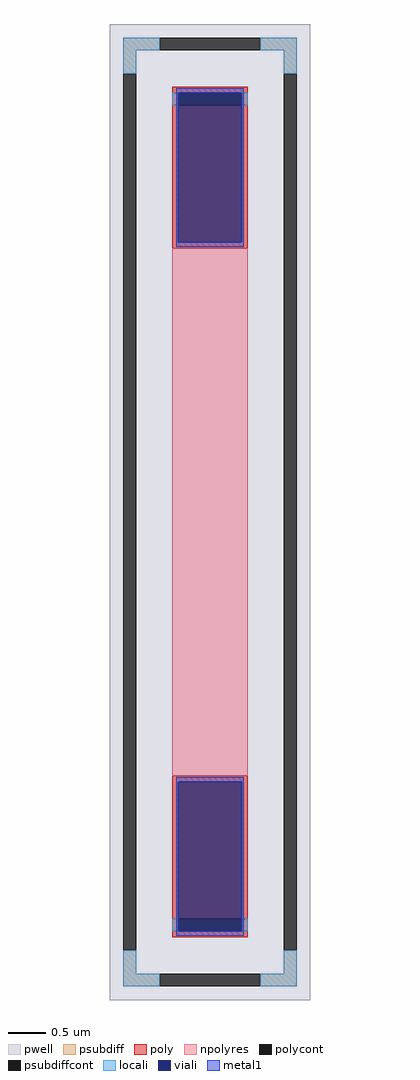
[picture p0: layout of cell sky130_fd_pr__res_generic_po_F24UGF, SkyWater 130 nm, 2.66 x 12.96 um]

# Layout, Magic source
magic
tech sky130B
magscale 1 2
<< pwell >>
rect -266 -1296 266 1296
<< psubdiff >>
rect -230 1226 -134 1260
rect 134 1226 230 1260
rect -230 1164 -196 1226
rect 196 1164 230 1226
rect -230 -1226 -196 -1164
rect 196 -1226 230 -1164
rect -230 -1260 -134 -1226
rect 134 -1260 230 -1226
<< psubdiffcont >>
rect -134 1226 134 1260
rect -230 -1164 -196 1164
rect 196 -1164 230 1164
rect -134 -1260 134 -1226
<< poly >>
rect -100 1114 100 1130
rect -100 1080 -84 1114
rect 84 1080 100 1114
rect -100 700 100 1080
rect -100 -1080 100 -700
rect -100 -1114 -84 -1080
rect 84 -1114 100 -1080
rect -100 -1130 100 -1114
<< polycont >>
rect -84 1080 84 1114
rect -84 -1114 84 -1080
<< npolyres >>
rect -100 -700 100 700
<< locali >>
rect -230 1226 -134 1260
rect 134 1226 230 1260
rect -230 1164 -196 1226
rect 196 1164 230 1226
rect -100 1080 -84 1114
rect 84 1080 100 1114
rect -100 -1114 -84 -1080
rect 84 -1114 100 -1080
rect -230 -1226 -196 -1164
rect 196 -1226 230 -1164
rect -230 -1260 -134 -1226
rect 134 -1260 230 -1226
<< viali >>
rect -84 1080 84 1114
rect -84 717 84 1080
rect -84 -1080 84 -717
rect -84 -1114 84 -1080
<< metal1 >>
rect -90 1114 90 1126
rect -90 717 -84 1114
rect 84 717 90 1114
rect -90 705 90 717
rect -90 -717 90 -705
rect -90 -1114 -84 -717
rect 84 -1114 90 -717
rect -90 -1126 90 -1114
<< properties >>
string FIXED_BBOX -213 -1243 213 1243
string gencell sky130_fd_pr__res_generic_po
string library sky130
string parameters w 1.0 l 7.0 m 1 nx 1 wmin 0.330 lmin 1.650 rho 48.2 val 337.4 dummy 0 dw 0.0 term 0.0 sterm 0.0 caplen 0.4 snake 0 guard 1 glc 1 grc 1 gtc 1 gbc 1 roverlap 0 endcov 100 full_metal 1 hv_guard 0 n_guard 0 vias 1 viagb 0 viagt 0 viagl 0 viagr 0
<< end >>
